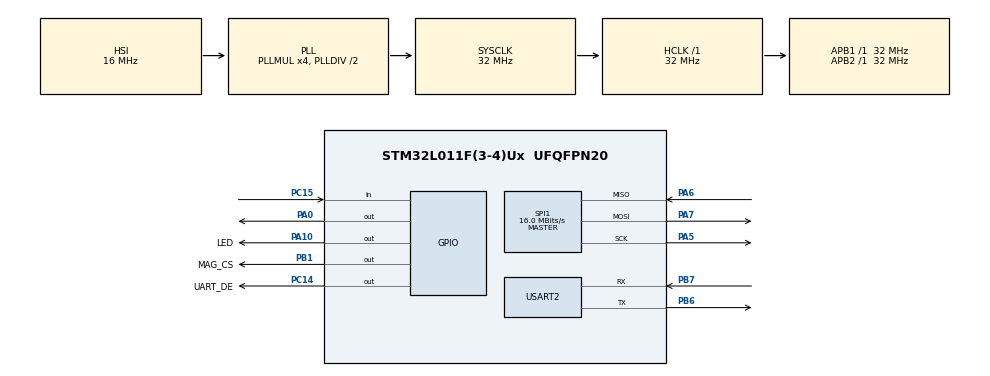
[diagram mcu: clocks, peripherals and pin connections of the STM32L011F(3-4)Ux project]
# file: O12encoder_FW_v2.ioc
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Dma.Request0=USART2_TX
Dma.USART2_TX.0.Direction=DMA_MEMORY_TO_PERIPH
Dma.USART2_TX.0.Instance=DMA1_Channel2
Dma.USART2_TX.0.MemDataAlignment=DMA_MDATAALIGN_BYTE
Dma.USART2_TX.0.MemInc=DMA_MINC_ENABLE
Dma.USART2_TX.0.Mode=DMA_NORMAL
Dma.USART2_TX.0.PeriphDataAlignment=DMA_PDATAALIGN_BYTE
Dma.USART2_TX.0.PeriphInc=DMA_PINC_DISABLE
Dma.USART2_TX.0.Priority=DMA_PRIORITY_LOW
Mcu.Family=STM32L0
Mcu.Name=STM32L011F(3-4)Ux
Mcu.Package=UFQFPN20
NVIC.DMA1_Channel2_3_IRQn=true\:0\:0\:false\:false\:true\:false\:true\:true
NVIC.USART2_IRQn=true\:0\:0\:false\:false\:true\:true\:true\:true
PA0-CK_IN.Signal=GPIO_Output
PA10.GPIO_Label=LED
PA10.Signal=GPIO_Output
PA13.Mode=Serial_Wire
PA13.Signal=SYS_SWDIO
PA14.Mode=Serial_Wire
PA14.Signal=SYS_SWCLK
PA5.Mode=Full_Duplex_Master
PA5.Signal=SPI1_SCK
PA6.Mode=Full_Duplex_Master
PA6.Signal=SPI1_MISO
PA7.Mode=Full_Duplex_Master
PA7.Signal=SPI1_MOSI
PB1.GPIO_Label=MAG_CS
PB1.Signal=GPIO_Output
PB6.GPIO_PuPd=GPIO_PULLUP
PB6.Mode=Asynchronous
PB6.Signal=USART2_TX
PB7.GPIO_PuPd=GPIO_PULLUP
PB7.Mode=Asynchronous
PB7.Signal=USART2_RX
PC14-OSC32_IN.GPIO_Label=UART_DE
PC14-OSC32_IN.Signal=GPIO_Output
PC15-OSC32_OUT.Signal=GPIO_Input
ProjectManager.HeapSize=0x000
ProjectManager.StackSize=0x400
ProjectManager.TargetToolchain=STM32CubeIDE
RCC.ADCFreq_Value=16000000
RCC.AHBFreq_Value=32000000
RCC.APB1Freq_Value=32000000
RCC.APB1TimFreq_Value=32000000
RCC.APB2Freq_Value=32000000
RCC.APB2TimFreq_Value=32000000
RCC.HCLKFreq_Value=32000000
RCC.HSE_VALUE=8000000
RCC.HSI16_VALUE=16000000
RCC.HSI_VALUE=16000000
RCC.LSE_VALUE=32768
RCC.MSI_VALUE=2097000
RCC.PLLMUL=RCC_PLLMUL_4
RCC.SYSCLKFreq_VALUE=32000000
RCC.SYSCLKSource=RCC_SYSCLKSOURCE_PLLCLK
RCC.Usart2ClockSelection=RCC_USART2CLKSOURCE_SYSCLK
RCC.VCOOutputFreq_Value=64000000
SPI1.CalculateBaudRate=16.0 MBits/s
SPI1.Direction=SPI_DIRECTION_2LINES
SPI1.Mode=SPI_MODE_MASTER
SPI1.VirtualType=VM_MASTER
USART2.VirtualMode-Asynchronous=VM_ASYNC
board=custom

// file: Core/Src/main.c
/* USER CODE BEGIN Header */
/**
 ******************************************************************************
 * @file           : main.c
 * @brief          : Main program body
 ******************************************************************************
 * @attention
 *
 * Copyright (c) 2024 STMicroelectronics.
 * All rights reserved.
 *
 * This software is licensed under terms that can be found in the LICENSE file
 * in the root directory of this software component.
 * If no LICENSE file comes with this software, it is provided AS-IS.
 *
 ******************************************************************************
 */
/* USER CODE END Header */
#include "main.h"

/* USER CODE BEGIN Includes */

#include "comdef.h"
#include "utils.h"

/* USER CODE END Includes */

/* USER CODE BEGIN PD */

#define UART_ADDR 0x1

// #define MA702 //12 bit
#define MA730 //14 bit, both encoders on squirrel rear leg are MA730

#define UART_TX_SIZE 10
#define UART_RX_SIZE 3

#define ANGLE_FILT_LVL 8

/* USER CODE END PD */

SPI_HandleTypeDef hspi1;

UART_HandleTypeDef huart2;
DMA_HandleTypeDef hdma_usart2_tx;

void SystemClock_Config(void);
static void MX_GPIO_Init(void);
static void MX_DMA_Init(void);
static void MX_USART2_UART_Init(void);
static void MX_SPI1_Init(void);

/* USER CODE BEGIN 0 */

static uint8_t uart_TX[UART_TX_SIZE] = {0};
static uint8_t uart_RX[UART_RX_SIZE] = {0};
static uint8_t uart_received_flag = 0;

static uint8_t led_cmd_flag = 0;

/* USER CODE END 0 */

int main(void) {

    /* MCU Configuration--------------------------------------------------------*/

    /* Reset of all peripherals, Initializes the Flash interface and the Systick. */
    HAL_Init();

    /* Configure the system clock */
    SystemClock_Config();

    /* Initialize all configured peripherals */
    MX_GPIO_Init();
    MX_DMA_Init();
    MX_USART2_UART_Init();
    MX_SPI1_Init();
    /* USER CODE BEGIN 2 */

    static uint8_t spi_TX[2] = {0};
    static uint8_t spi_RX[2] = {0};

    static uint16_t m_angle = 0;
    static uint16_t m_angle_prev;
    static int32_t revs = 0;
    static int32_t cont_angle = 0;
    static int64_t cont_angle_accum = 0;

    static uint8_t m_angle_inited = 0;

    static int16_t encoder_res = 7;

    static int16_t uart_cmd[3] = {0};

    HAL_GPIO_WritePin(MAG_CS_GPIO_Port, MAG_CS_Pin, 1);
    HAL_GPIO_WritePin(UART_DE_GPIO_Port, UART_DE_Pin, 0);

    HAL_MultiProcessor_Init(&huart2, UART_ADDR, UART_WAKEUPMETHOD_ADDRESSMARK);
    HAL_MultiProcessorEx_AddressLength_Set(&huart2, UART_ADDRESS_DETECT_4B);

    HAL_MultiProcessor_EnableMuteMode(&huart2);
    HAL_MultiProcessor_EnterMuteMode(&huart2);

    HAL_UARTEx_ReceiveToIdle_IT(&huart2, uart_RX, UART_RX_SIZE);

    /* USER CODE END 2 */

    /* Infinite loop */
    while (1) {
        // HAL_GPIO_WritePin(LED_GPIO_Port, LED_Pin, 1);
        // HAL_Delay(200);
        // HAL_GPIO_WritePin(LED_GPIO_Port, LED_Pin, 0);
        // HAL_Delay(1000);

        HAL_GPIO_WritePin(MAG_CS_GPIO_Port, MAG_CS_Pin, 0);
        HAL_SPI_TransmitReceive(&hspi1, spi_TX, spi_RX, 2, HAL_MAX_DELAY);
        HAL_GPIO_WritePin(MAG_CS_GPIO_Port, MAG_CS_Pin, 1);

        // angles represented in [0,32767] (~91 per degree)
        #ifdef MA702
        m_angle = ((uint16_t)(spi_RX[0]) << 8) + spi_RX[1] + 16384;
        #endif
        #ifdef MA730
        m_angle = (((uint16_t)(spi_RX[0]) << 8) + spi_RX[1]) >> 1; //14 bit encoder
        #endif

        if(!m_angle_inited){
        	m_angle_inited = 1;
        }else{ //angle wraparound
			if (m_angle_prev < 8192 && m_angle > 24576) { // detect angle wraparound and increment a revolution
				revs -= 32768;
			} else if (m_angle < 8192 && m_angle_prev > 24576) {
				revs += 32768;
			}
        }
//        cont_angle = m_angle + revs;

        cont_angle = cont_angle_accum >> ANGLE_FILT_LVL;
        cont_angle_accum = cont_angle_accum - cont_angle + (m_angle + revs);

		//rpm = rpm_accum >> RPM_FILT_LVL;
//	    rpm_accum = rpm_accum - rpm + rpm_raw;

        m_angle_prev = m_angle;

//        if(m_angle > 16384){
//            HAL_GPIO_WritePin(LED_GPIO_Port, LED_Pin, 1);
//        }else{
//            HAL_GPIO_WritePin(LED_GPIO_Port, LED_Pin, 0);
//        }

        if (uart_received_flag) {
            uart_received_flag = 0;
            uint8_t is_transmit = 0;

            uart_cmd[0] = uart_RX[0] & CMD_MASK;
            uart_cmd[1] = (uart_RX[1] << 7) | (uart_RX[2]);
            uart_cmd[1] = pad14(uart_cmd[1]);

            if (uart_cmd[0] == CMD_GET_POSITION) {
                encoder_res = uart_cmd[1];

                 uart_TX[0] = (uint8_t)(cont_angle >> (21)) & 0b01111111;
				 uart_TX[1] = (uint8_t)(cont_angle >> (14)) & 0b01111111;
				 uart_TX[2] = (uint8_t)(cont_angle >> (7)) & 0b01111111;
				 uart_TX[3] = (uint8_t)(cont_angle >> (0)) & 0b01111111;

				HAL_GPIO_WritePin(UART_DE_GPIO_Port, UART_DE_Pin, 1); // enable TX
				HAL_UART_Transmit_DMA(&huart2, uart_TX, 4);
				is_transmit = 1;
            }else if (uart_cmd[0] == CMD_SET_POSITION){ //set led state using rs485
                led_cmd_flag = 1;
                if(uart_cmd[1] > 0){
                    HAL_GPIO_WritePin(LED_GPIO_Port, LED_Pin, 0); //LIT
                }else{
                    HAL_GPIO_WritePin(LED_GPIO_Port, LED_Pin, 1); //UNLIT
                }
                if(uart_cmd[1] == 9){ //can revert led behavior by sending set position 9
                    led_cmd_flag = 0;
                }
            }

            if(!is_transmit){ //transmit autostarts recv afterwards, but if no transmit then manually recv
                HAL_UARTEx_ReceiveToIdle_IT(&huart2, uart_RX, UART_RX_SIZE);
            }

            // HAL_GPIO_WritePin(LED_GPIO_Port, LED_Pin, 0);
        }else{
            // HAL_GPIO_WritePin(LED_GPIO_Port, LED_Pin, 1);
        }

        if(!led_cmd_flag){ //if no led commands sent, use default led behavior
            if(m_angle > 16384){
                HAL_GPIO_WritePin(LED_GPIO_Port, LED_Pin, 1);
            }else{
                HAL_GPIO_WritePin(LED_GPIO_Port, LED_Pin, 0);
            }
        }

//        HAL_Delay(10);

    }
}

void SystemClock_Config(void) {
    RCC_OscInitTypeDef RCC_OscInitStruct = {0};
    RCC_ClkInitTypeDef RCC_ClkInitStruct = {0};
    RCC_PeriphCLKInitTypeDef PeriphClkInit = {0};

    /** Configure the main internal regulator output voltage
     */
    __HAL_PWR_VOLTAGESCALING_CONFIG(PWR_REGULATOR_VOLTAGE_SCALE1);

    /** Initializes the RCC Oscillators according to the specified parameters
     * in the RCC_OscInitTypeDef structure.
     */
    RCC_OscInitStruct.OscillatorType = RCC_OSCILLATORTYPE_HSI;
    RCC_OscInitStruct.HSIState = RCC_HSI_ON;
    RCC_OscInitStruct.HSICalibrationValue = RCC_HSICALIBRATION_DEFAULT;
    RCC_OscInitStruct.PLL.PLLState = RCC_PLL_ON;
    RCC_OscInitStruct.PLL.PLLSource = RCC_PLLSOURCE_HSI;
    RCC_OscInitStruct.PLL.PLLMUL = RCC_PLLMUL_4;
    RCC_OscInitStruct.PLL.PLLDIV = RCC_PLLDIV_2;
    if (HAL_RCC_OscConfig(&RCC_OscInitStruct) != HAL_OK) {
        Error_Handler();
    }

    /** Initializes the CPU, AHB and APB buses clocks
     */
    RCC_ClkInitStruct.ClockType = RCC_CLOCKTYPE_HCLK | RCC_CLOCKTYPE_SYSCLK | RCC_CLOCKTYPE_PCLK1 | RCC_CLOCKTYPE_PCLK2;
    RCC_ClkInitStruct.SYSCLKSource = RCC_SYSCLKSOURCE_PLLCLK;
    RCC_ClkInitStruct.AHBCLKDivider = RCC_SYSCLK_DIV1;
    RCC_ClkInitStruct.APB1CLKDivider = RCC_HCLK_DIV1;
    RCC_ClkInitStruct.APB2CLKDivider = RCC_HCLK_DIV1;

    if (HAL_RCC_ClockConfig(&RCC_ClkInitStruct, FLASH_LATENCY_1) != HAL_OK) {
        Error_Handler();
    }
    PeriphClkInit.PeriphClockSelection = RCC_PERIPHCLK_USART2;
    PeriphClkInit.Usart2ClockSelection = RCC_USART2CLKSOURCE_SYSCLK;
    if (HAL_RCCEx_PeriphCLKConfig(&PeriphClkInit) != HAL_OK) {
        Error_Handler();
    }
}

static void MX_SPI1_Init(void) {

    /* SPI1 parameter configuration*/
    hspi1.Instance = SPI1;
    hspi1.Init.Mode = SPI_MODE_MASTER;
    hspi1.Init.Direction = SPI_DIRECTION_2LINES;
    hspi1.Init.DataSize = SPI_DATASIZE_8BIT;
    hspi1.Init.CLKPolarity = SPI_POLARITY_LOW;
    hspi1.Init.CLKPhase = SPI_PHASE_1EDGE;
    hspi1.Init.NSS = SPI_NSS_SOFT;
    hspi1.Init.BaudRatePrescaler = SPI_BAUDRATEPRESCALER_2;
    hspi1.Init.FirstBit = SPI_FIRSTBIT_MSB;
    hspi1.Init.TIMode = SPI_TIMODE_DISABLE;
    hspi1.Init.CRCCalculation = SPI_CRCCALCULATION_DISABLE;
    hspi1.Init.CRCPolynomial = 7;
    if (HAL_SPI_Init(&hspi1) != HAL_OK) {
        Error_Handler();
    }
}

static void MX_USART2_UART_Init(void) {

    huart2.Instance = USART2;
    huart2.Init.BaudRate = 1000000;
    huart2.Init.WordLength = UART_WORDLENGTH_8B;
    huart2.Init.StopBits = UART_STOPBITS_1;
    huart2.Init.Parity = UART_PARITY_NONE;
    huart2.Init.Mode = UART_MODE_TX_RX;
    huart2.Init.HwFlowCtl = UART_HWCONTROL_NONE;
    huart2.Init.OverSampling = UART_OVERSAMPLING_16;
    huart2.Init.OneBitSampling = UART_ONE_BIT_SAMPLE_DISABLE;
    huart2.AdvancedInit.AdvFeatureInit = UART_ADVFEATURE_NO_INIT;
    if (HAL_UART_Init(&huart2) != HAL_OK) {
        Error_Handler();
    }
}

static void MX_DMA_Init(void) {

    /* DMA controller clock enable */
    __HAL_RCC_DMA1_CLK_ENABLE();

    /* DMA interrupt init */
    /* DMA1_Channel2_3_IRQn interrupt configuration */
    HAL_NVIC_SetPriority(DMA1_Channel2_3_IRQn, 0, 0);
    HAL_NVIC_EnableIRQ(DMA1_Channel2_3_IRQn);
}

static void MX_GPIO_Init(void) {
    GPIO_InitTypeDef GPIO_InitStruct = {0};

    /* GPIO Ports Clock Enable */
    __HAL_RCC_GPIOC_CLK_ENABLE();
    __HAL_RCC_GPIOA_CLK_ENABLE();
    __HAL_RCC_GPIOB_CLK_ENABLE();

    /*Configure GPIO pin Output Level */
    HAL_GPIO_WritePin(UART_DE_GPIO_Port, UART_DE_Pin, GPIO_PIN_RESET);

    /*Configure GPIO pin Output Level */
    HAL_GPIO_WritePin(GPIOA, GPIO_PIN_0 | LED_Pin, GPIO_PIN_RESET);

    /*Configure GPIO pin Output Level */
    HAL_GPIO_WritePin(MAG_CS_GPIO_Port, MAG_CS_Pin, GPIO_PIN_RESET);

    /*Configure GPIO pin : UART_DE_Pin */
    GPIO_InitStruct.Pin = UART_DE_Pin;
    GPIO_InitStruct.Mode = GPIO_MODE_OUTPUT_PP;
    GPIO_InitStruct.Pull = GPIO_NOPULL;
    GPIO_InitStruct.Speed = GPIO_SPEED_FREQ_LOW;
    HAL_GPIO_Init(UART_DE_GPIO_Port, &GPIO_InitStruct);

    /*Configure GPIO pin : PC15 */
    GPIO_InitStruct.Pin = GPIO_PIN_15;
    GPIO_InitStruct.Mode = GPIO_MODE_INPUT;
    GPIO_InitStruct.Pull = GPIO_NOPULL;
    HAL_GPIO_Init(GPIOC, &GPIO_InitStruct);

    /*Configure GPIO pins : PA0 LED_Pin */
    GPIO_InitStruct.Pin = GPIO_PIN_0 | LED_Pin;
    GPIO_InitStruct.Mode = GPIO_MODE_OUTPUT_PP;
    GPIO_InitStruct.Pull = GPIO_NOPULL;
    GPIO_InitStruct.Speed = GPIO_SPEED_FREQ_LOW;
    HAL_GPIO_Init(GPIOA, &GPIO_InitStruct);

    /*Configure GPIO pin : MAG_CS_Pin */
    GPIO_InitStruct.Pin = MAG_CS_Pin;
    GPIO_InitStruct.Mode = GPIO_MODE_OUTPUT_PP;
    GPIO_InitStruct.Pull = GPIO_NOPULL;
    GPIO_InitStruct.Speed = GPIO_SPEED_FREQ_LOW;
    HAL_GPIO_Init(MAG_CS_GPIO_Port, &GPIO_InitStruct);

}

/* USER CODE BEGIN 4 */

void HAL_UARTEx_RxEventCallback(UART_HandleTypeDef *huart, uint16_t Size) {
    uart_received_flag = 1; // commutation loop will read and clear
}

void HAL_UART_TxCpltCallback(UART_HandleTypeDef *huart) {
    HAL_GPIO_WritePin(UART_DE_GPIO_Port, UART_DE_Pin, 0); // set RX
    HAL_UARTEx_ReceiveToIdle_IT(&huart2, uart_RX, UART_RX_SIZE);
}

void HAL_UART_ErrorCallback(UART_HandleTypeDef *huart) { // shouldn't happen but just in case of overrun, restart RX
    // clear the uart buffer
    uint8_t temp_buffer[20];
    while (__HAL_UART_GET_FLAG(&huart2, UART_FLAG_RXNE)) {
        HAL_UART_Receive(&huart2, temp_buffer, 1, 1);
    }

    HAL_GPIO_WritePin(UART_DE_GPIO_Port, UART_DE_Pin, 0); // set RX
    HAL_UARTEx_ReceiveToIdle_IT(&huart2, uart_RX, UART_RX_SIZE);
}

/* USER CODE END 4 */

void Error_Handler(void) {
    __disable_irq();
    while (1) {
    }
}
